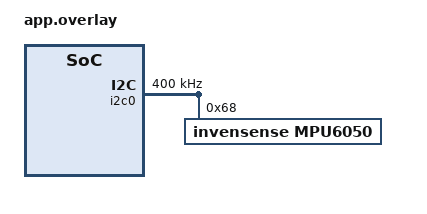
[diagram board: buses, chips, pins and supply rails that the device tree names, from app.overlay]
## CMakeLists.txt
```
# Minimum CMake version required by Zephyr RTOS
cmake_minimum_required(VERSION 3.20.0)

# Locate and import the Zephyr build system
find_package(Zephyr REQUIRED HINTS $ENV{ZEPHYR_BASE})

# Define project name
project(gyrocube)

# Generate compile_commands.json for IDE support and language servers (clangd, VS Code, etc.)
set(CMAKE_EXPORT_COMPILE_COMMANDS ON)

# Private include directories for application modules
target_include_directories(app PRIVATE
    modules
)

# Application source files
target_sources(app PRIVATE
    src/main.cpp
    modules/LowPassFilter/LowPassFilter.cpp
    modules/SimplePid/SimplePid.cpp
    modules/mpu6050/mpu6050.cpp
    modules/ComplementaryFilter/ComplementaryFilter.cpp
    modules/MatlabLink/MatlabLink.cpp
)
```

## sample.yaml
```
sample:
  name: mpu6050
tests:
  sample.sensor.mpu6050:
    tags:
      - sensors
      - i2c
      - cpp
    filter: dt_compat_enabled("invensense,mpu6050")
    depends_on: i2c
    integration_platforms:
      - esp32c3_supermini
```

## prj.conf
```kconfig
# ==============================================================================
# C++ Toolchain Support
# ==============================================================================
CONFIG_CPP=y
CONFIG_STD_CPP17=y
CONFIG_REQUIRES_FULL_LIBCPP=y

# ==============================================================================
# USB Console & Floating-Point Debugging
# ==============================================================================
CONFIG_SERIAL=y
CONFIG_CONSOLE=y
CONFIG_UART_CONSOLE=y

# Required to print float/double sensor values via printk/printf
CONFIG_CBPRINTF_FP_SUPPORT=y

# Note: Hardware USB Serial/JTAG controller is enabled automatically:
# CONFIG_ESP_USB_SERIAL_JTAG_ENABLED=y  (Default: 'y' on ESP32-C3)

# ==============================================================================
# Sensor Subsystem (MPU6050)
# ==============================================================================
CONFIG_SENSOR=y

# Use periodic polling mode (no physical INT interrupt pin connected)
CONFIG_MPU6050_TRIGGER_NONE=y

# Note: The following are auto-enabled via DeviceTree & driver dependencies:
# CONFIG_I2C=y                          (Selected by MPU6050 driver)
# CONFIG_MPU6050=y                      (Enabled by 'invensense,mpu6050' overlay node)
```

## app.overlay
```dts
/* Pin multiplexing configuration */
&pinctrl {
	i2c0_default: i2c0_default {
		group1 {
			pinmux = <I2C0_SDA_GPIO8>,
			         <I2C0_SCL_GPIO9>;
			bias-pull-up;
			drive-open-drain;
			output-high;
		};
	};
};

/* I2C0 controller and MPU6050 sensor */
&i2c0 {
	status = "okay";
	clock-frequency = <I2C_BITRATE_FAST>;
	pinctrl-0 = <&i2c0_default>;
	pinctrl-names = "default";

	mpu6050: mpu6050@68 {
		compatible = "invensense,mpu6050";
		reg = <0x68>;
		status = "okay";
	};
};
```

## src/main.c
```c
/*
 * Copyright (c) 2019 Nordic Semiconductor ASA
 *
 * SPDX-License-Identifier: Apache-2.0
 */

#include <zephyr/kernel.h>
#include <zephyr/device.h>
#include <zephyr/drivers/sensor.h>
#include <stdio.h>

static const char *now_str(void)
{
	static char buf[16]; /* ...HH:MM:SS.MMM */
	uint32_t now = k_uptime_get_32();
	unsigned int ms = now % MSEC_PER_SEC;
	unsigned int s;
	unsigned int min;
	unsigned int h;

	now /= MSEC_PER_SEC;
	s = now % 60U;
	now /= 60U;
	min = now % 60U;
	now /= 60U;
	h = now;

	snprintf(buf, sizeof(buf), "%u:%02u:%02u.%03u",
		 h, min, s, ms);
	return buf;
}

static int process_mpu6050(const struct device *dev)
{
	struct sensor_value temperature;
	struct sensor_value accel[3];
	struct sensor_value gyro[3];
	int rc = sensor_sample_fetch(dev);

	if (rc == 0) {
		rc = sensor_channel_get(dev, SENSOR_CHAN_ACCEL_XYZ,
					accel);
	}
	if (rc == 0) {
		rc = sensor_channel_get(dev, SENSOR_CHAN_GYRO_XYZ,
					gyro);
	}
	if (rc == 0) {
		rc = sensor_channel_get(dev, SENSOR_CHAN_DIE_TEMP,
					&temperature);
	}
	if (rc == 0) {
		printf("[%s]:%g Cel\n"
		       "  accel %f %f %f m/s/s\n"
		       "  gyro  %f %f %f rad/s\n",
		       now_str(),
		       sensor_value_to_double(&temperature),
		       sensor_value_to_double(&accel[0]),
		       sensor_value_to_double(&accel[1]),
		       sensor_value_to_double(&accel[2]),
		       sensor_value_to_double(&gyro[0]),
		       sensor_value_to_double(&gyro[1]),
		       sensor_value_to_double(&gyro[2]));
	} else {
		printf("sample fetch/get failed: %d\n", rc);
	}

	return rc;
}

#ifdef CONFIG_MPU6050_TRIGGER
static struct sensor_trigger trigger;

static void handle_mpu6050_drdy(const struct device *dev,
				const struct sensor_trigger *trig)
{
	int rc = process_mpu6050(dev);

	if (rc != 0) {
		printf("cancelling trigger due to failure: %d\n", rc);
		(void)sensor_trigger_set(dev, trig, NULL);
		return;
	}
}
#endif /* CONFIG_MPU6050_TRIGGER */

int main(void)
{
	const struct device *const mpu6050 = DEVICE_DT_GET_ONE(invensense_mpu6050);

	if (!device_is_ready(mpu6050)) {
		printf("Device %s is not ready\n", mpu6050->name);
		return 0;
	}

#ifdef CONFIG_MPU6050_TRIGGER
	trigger = (struct sensor_trigger) {
		.type = SENSOR_TRIG_DATA_READY,
		.chan = SENSOR_CHAN_ALL,
	};
	if (sensor_trigger_set(mpu6050, &trigger,
			       handle_mpu6050_drdy) < 0) {
		printf("Cannot configure trigger\n");
		return 0;
	}
	printk("Configured for triggered sampling.\n");
#endif

	while (!IS_ENABLED(CONFIG_MPU6050_TRIGGER)) {
		int rc = process_mpu6050(mpu6050);

		if (rc != 0) {
			break;
		}
		k_sleep(K_SECONDS(2));
	}

	/* triggered runs with its own thread after exit */
	return 0;
}
```

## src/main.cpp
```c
#include <zephyr/kernel.h>
#include <zephyr/device.h>
#include <zephyr/drivers/uart.h>
#include <zephyr/sys/printk.h>

#include <cmath>
#include <cstring>

#include "ComplementaryFilter/ComplementaryFilter.hpp"
#include "LowPassFilter/LowPassFilter.hpp"
#include "mpu6050/mpu6050.hpp"
#include "MatlabLink/MatlabLink.hpp"

// =============================================================================
// Application Constants & Tuning Parameters
// =============================================================================

/**
 * @brief Main processing loop period in milliseconds (10 ms -> 100 Hz rate).
 */
static constexpr int32_t SAMPLE_PERIOD_MS = 10;

/**
 * @brief Sampling period in seconds for numerical integration steps.
 */
static constexpr float SAMPLE_PERIOD_S = 0.01f;

/**
 * @brief Number of stationary samples collected for zero-offset bias calibration.
 */
static constexpr int CALIBRATION_SAMPLES = 500;

/**
 * @brief First-order low-pass filter smoothing coefficient for raw accelerometer.
 */
static constexpr float FILTER_ALPHA = 0.1f;

/**
 * @brief Complementary filter weighting factor.
 */
static constexpr float COMPLEMENTARY_ALPHA = 0.98f;

/**
 * @brief Multiplier to convert angles from radians to degrees.
 */
static constexpr float RAD_TO_DEG = 180.0f / 3.14159265358979323846f;

// =============================================================================
// Telemetry Payload Structure (Zero-Copy Little-Endian)
// =============================================================================

#pragma pack(push, 1)
struct TelemetryPayload
{
    uint32_t timestamp_ms{0};     ///< System uptime in milliseconds
    float    raw_pitch_deg{0.0f};  ///< Accelerometer pitch before fusion (deg)
    float    raw_roll_deg{0.0f};   ///< Accelerometer roll before fusion (deg)
    float    clean_pitch_deg{0.0f};///< Fused complementary pitch (deg)
    float    clean_roll_deg{0.0f}; ///< Fused complementary roll (deg)
    float    gyro_x{0.0f};         ///< Angular rate around X-axis (rad/s)
    float    gyro_y{0.0f};         ///< Angular rate around Y-axis (rad/s)
    float    gyro_z{0.0f};         ///< Angular rate around Z-axis (rad/s)
};
#pragma pack(pop)

static const struct device *const uart_dev = DEVICE_DT_GET(DT_CHOSEN(zephyr_console));

/**
 * @brief Serializes and transmits the telemetry message using the MatlabLink protocol.
 */
static inline void send_telemetry(const TelemetryPayload &payload)
{
    if (!device_is_ready(uart_dev)) {
        return;
    }

    MatlabLink::Message msg;
    msg.id = MatlabLink::MessageId::Telemetry;
    msg.length = sizeof(TelemetryPayload);
    std::memcpy(msg.payload, &payload, sizeof(TelemetryPayload));

    uint8_t tx_frame[MatlabLink::MAX_FRAME_SIZE];
    const size_t frame_len = MatlabLink::pack(msg, tx_frame);

    for (size_t i = 0; i < frame_len; ++i) {
        uart_poll_out(uart_dev, tx_frame[i]);
    }
}

// =============================================================================
// Geometric Angle Estimation Functions
// =============================================================================

/**
 * @brief Computes the pitch (tilt along Y-axis) angle from linear acceleration.
 */
static inline float calculatePitch(float ax, float ay, float az)
{
    return std::atan2(-ax, std::sqrt((ay * ay) + (az * az)));
}

/**
 * @brief Computes the roll (tilt along X-axis) angle from linear acceleration.
 */
static inline float calculateRoll(float ax, float ay, float az)
{
    (void)ax;
    return std::atan2(ay, az);
}

// =============================================================================
// Application Entry Point
// =============================================================================

int main()
{
    printk("\n[INIT] Starting MPU6050 attitude estimation & MatlabLink streamer...\n");

    // 1. Hardware Initialization
    Mpu6050 imu;
    if (!imu.init()) {
        printk("[ERROR] MPU6050 initialization failed! Halting.\n");
        return -1;
    }
    printk("[INIT] MPU6050 initialized successfully.\n");

    // 2. Sensor Zero-Offset Calibration
    printk("[INIT] Keep MPU6050 still. Calibrating (%d samples)...\n", CALIBRATION_SAMPLES);
    if (!imu.calibrate(CALIBRATION_SAMPLES)) {
        printk("[ERROR] MPU6050 calibration failed! Halting.\n");
        return -1;
    }
    printk("[INIT] Calibration complete. Launching 100 Hz binary MatlabLink stream...\n");

    // 3. Filters Initialization
    LowPassFilter acc_x_filter(FILTER_ALPHA);
    LowPassFilter acc_y_filter(FILTER_ALPHA);
    LowPassFilter acc_z_filter(FILTER_ALPHA);

    ComplementaryFilter pitch_filter(COMPLEMENTARY_ALPHA);
    ComplementaryFilter roll_filter(COMPLEMENTARY_ALPHA);

    // Settle delay before starting UART streaming
    k_msleep(200);

    int64_t next_cycle_time = k_uptime_get();
    TelemetryPayload telemetry_data{};

    // 4. Main Processing Loop (100 Hz)
    while (true) {
        next_cycle_time += SAMPLE_PERIOD_MS;

        ImuData data{};
        if (!imu.read(data)) {
            k_msleep(1);
            continue;
        }

        // 4.1 Suppress high-frequency accelerometer vibrations
        const float ax = acc_x_filter.update(data.ax);
        const float ay = acc_y_filter.update(data.ay);
        const float az = acc_z_filter.update(data.az);

        // 4.2 Pure accelerometer static angles
        const float raw_pitch_rad = calculatePitch(ax, ay, az);
        const float raw_roll_rad  = calculateRoll(ax, ay, az);

        // 4.3 Fused clean attitude angles
        const float pitch_rad = pitch_filter.update(raw_pitch_rad, data.gy, SAMPLE_PERIOD_S);
        const float roll_rad  = roll_filter.update(raw_roll_rad, data.gx, SAMPLE_PERIOD_S);

        // 4.4 Fill telemetry payload
        telemetry_data.timestamp_ms     = static_cast<uint32_t>(k_uptime_get());
        telemetry_data.raw_pitch_deg   = raw_pitch_rad * RAD_TO_DEG;
        telemetry_data.raw_roll_deg    = raw_roll_rad * RAD_TO_DEG;
        telemetry_data.clean_pitch_deg = pitch_rad * RAD_TO_DEG;
        telemetry_data.clean_roll_deg  = roll_rad * RAD_TO_DEG;
        telemetry_data.gyro_x          = data.gx;
        telemetry_data.gyro_y          = data.gy;
        telemetry_data.gyro_z          = data.gz;

        // 4.5 Transmit binary frame via MatlabLink (0x5A, 0xA5, ID, LEN, DATA, CRC16)
        send_telemetry(telemetry_data);

        // 4.6 Fixed-step 10 ms scheduling
        const int64_t current_time = k_uptime_get();
        const int32_t remaining_sleep_ms = static_cast<int32_t>(next_cycle_time - current_time);

        if (remaining_sleep_ms > 0) {
            k_msleep(remaining_sleep_ms);
        }
    }

    return 0;
}
```
